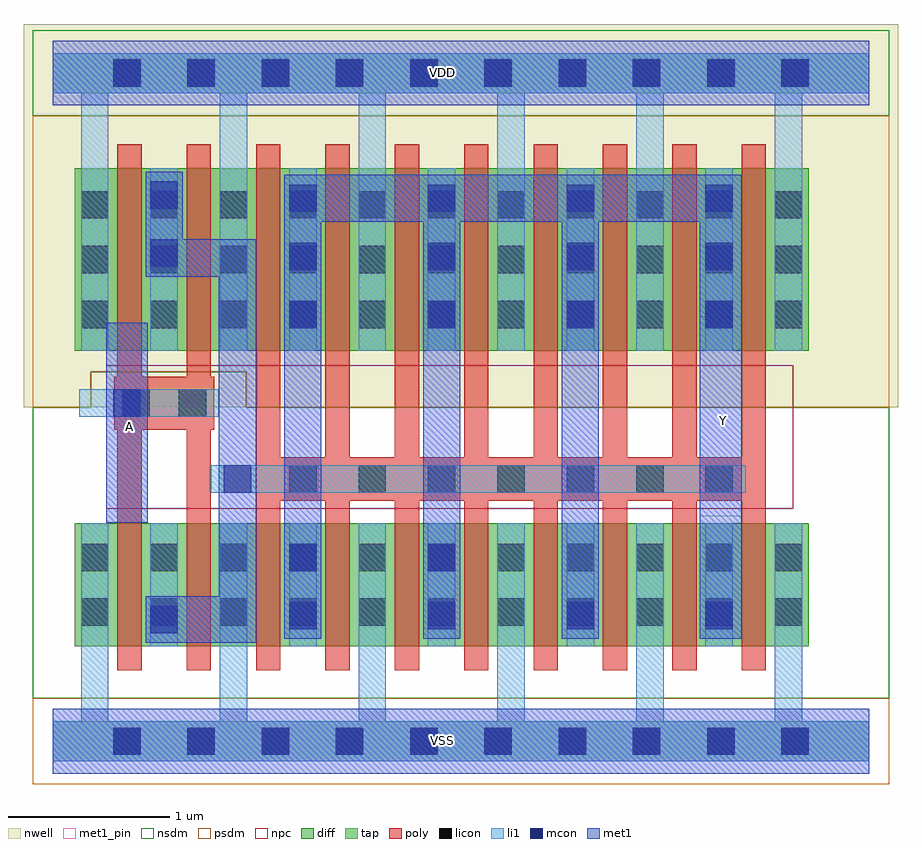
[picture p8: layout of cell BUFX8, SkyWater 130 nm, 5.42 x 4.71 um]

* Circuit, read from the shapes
.subckt BUFX8 A VDD VSS Y
XM1 n1 A VSS VSS sky130_fd_pr__nfet_01v8 w=0.76 l=0.15 m=2
XM2 Y n1 VSS VSS sky130_fd_pr__nfet_01v8 w=0.76 l=0.15 m=8
XM3 n1 A VDD VDD sky130_fd_pr__pfet_01v8 w=1.13 l=0.15 m=2
XM4 Y n1 VDD VDD sky130_fd_pr__pfet_01v8 w=1.13 l=0.15 m=8
.ends

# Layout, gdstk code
from math import pi, radians
import gdstk
lib = gdstk.Library(unit=1e-6, precision=1e-09)
def R(c, l, rs):  # rectangles x0, y0, x1, y1
    for r in rs: c.add(gdstk.rectangle(r[:2], r[2:], *l))
def A(c, l, x, y, w, h, nx, ny, dx, dy):  # array of equal rectangles
    R(c, l, [(x+i*dx, y+j*dy, x+i*dx+w, y+j*dy+h) for i in range(nx) for j in range(ny)])
def P(c, l, *ps):  # polygons
    for p in ps: c.add(gdstk.Polygon(p, *l))
nwell = (64, 20)
diff = (65, 20)
tap = (65, 44)
poly = (66, 20)
licon = (66, 44)
li1 = (67, 20)
mcon = (67, 44)
met1_pin = (68, 16)
met1 = (68, 20)
nsdm = (93, 44)
psdm = (94, 20)
npc = (95, 20)

l1m1_c__16 = lib.new_cell('L1M1_C$$16')
R(l1m1_c__16, li1, [(-0.085,-0.165,0.085,0.165)])
R(l1m1_c__16, mcon, [(-0.085,-0.085,0.085,0.085)])
R(l1m1_c__16, met1, [(-0.115,-0.145,0.115,0.145)])

pyl1con_c__13 = lib.new_cell('PYL1CON_C$$13')
R(pyl1con_c__13, poly, [(-0.135,-0.165,0.135,0.165)])
R(pyl1con_c__13, licon, [(-0.085,-0.085,0.085,0.085)])
R(pyl1con_c__13, npc, [(-0.185,-0.185,0.185,0.185)])

l1m1_c__12 = lib.new_cell('L1M1_C$$12')
R(l1m1_c__12, li1, [(-0.085,-0.345,0.085,0.345)])
R(l1m1_c__12, mcon, [(-0.085,-0.265,0.085,-0.095), (-0.085,0.095,0.085,0.265)])
R(l1m1_c__12, met1, [(-0.115,-0.325,0.115,0.325)])

l1m1_c__15 = lib.new_cell('L1M1_C$$15')
R(l1m1_c__15, li1, [(-0.165,-0.085,0.165,0.085)])
R(l1m1_c__15, mcon, [(-0.085,-0.085,0.085,0.085)])
R(l1m1_c__15, met1, [(-0.115,-0.145,0.115,0.145)])

bufx8 = lib.new_cell('BUFX8')
R(bufx8, nwell, [(-0.18,2.07,5.24,4.445)])
R(bufx8, diff, [(0.135,0.59,4.685,1.35), (0.135,2.42,4.685,3.55)])
A(bufx8, poly, 1.26, 0.44, 0.15, 3.26, 8, 1, 0.43, 0)
P(bufx8, poly, [(1,2.26),(0.98,2.26),(0.98,3.7),(0.83,3.7),(0.83,2.26),(0.55,2.26),(0.55,3.7),(0.4,3.7),(0.4,2.26),(0.38,2.26),(0.38,1.93),(0.4,1.93),(0.4,0.44),(0.55,0.44),(0.55,1.93),(0.83,1.93),(0.83,0.44),(0.98,0.44),(0.98,1.93),(1,1.93)])
A(bufx8, licon, 0.375, -0.085, 0.17, 0.17, 10, 2, 0.46, 4.14)
A(bufx8, licon, 0.175, 0.715, 0.17, 0.17, 11, 2, 0.43, 0.34)
A(bufx8, licon, 0.175, 2.56, 0.17, 0.17, 11, 3, 0.43, 0.34)
A(bufx8, li1, 0.605, 0.59, 0.17, 0.76, 5, 1, 0.86, 0)
A(bufx8, li1, 0.605, 2.42, 0.17, 1.13, 5, 1, 0.86, 0)
P(bufx8, li1, [(5.06,0.125),(4.645,0.125),(4.645,1.35),(4.475,1.35),(4.475,0.125),(3.785,0.125),(3.785,1.35),(3.615,1.35),(3.615,0.125),(2.925,0.125),(2.925,1.35),(2.755,1.35),(2.755,0.125),(2.065,0.125),(2.065,1.35),(1.895,1.35),(1.895,0.125),(1.205,0.125),(1.205,1.35),(1.035,1.35),(1.035,0.125),(0.345,0.125),(0.345,1.35),(0.175,1.35),(0.175,0.125),(0,0.125),(0,-0.125),(5.06,-0.125)],
  [(5.06,4.265),(0,4.265),(0,4.015),(0.175,4.015),(0.175,2.42),(0.345,2.42),(0.345,4.015),(1.035,4.015),(1.035,2.42),(1.205,2.42),(1.205,4.015),(1.895,4.015),(1.895,2.42),(2.065,2.42),(2.065,4.015),(2.755,4.015),(2.755,2.42),(2.925,2.42),(2.925,4.015),(3.615,4.015),(3.615,2.42),(3.785,2.42),(3.785,4.015),(4.475,4.015),(4.475,2.42),(4.645,2.42),(4.645,4.015),(5.06,4.015)])
A(bufx8, mcon, 0.375, -0.085, 0.17, 0.17, 10, 2, 0.46, 4.14)
A(bufx8, mcon, 1.465, 0.695, 0.17, 0.17, 4, 2, 0.86, 1.865)
A(bufx8, mcon, 1.465, 2.92, 0.17, 0.17, 4, 2, 0.86, 0.36)
R(bufx8, mcon, [(1.465,1.055,1.635,1.225), (2.325,1.055,2.495,1.225)])
R(bufx8, met1_pin, [(0.33,1.355,0.59,2.595), (4.01,1.395,4.27,2.635)])
P(bufx8, met1, [(1.26,3.11),(0.575,3.11),(0.575,2.88),(1.03,2.88),(1.03,0.9),(0.575,0.9),(0.575,0.61),(1.26,0.61)],
  [(4.27,3.51),(1.435,3.51),(1.435,0.635),(1.665,0.635),(1.665,3.22),(2.295,3.22),(2.295,0.635),(2.525,0.635),(2.525,3.22),(3.155,3.22),(3.155,0.635),(3.385,0.635),(3.385,3.22),(4.01,3.22),(4.01,0.635),(4.27,0.635)])
R(bufx8, nsdm, [(-0.125,3.875,5.185,4.405)])
P(bufx8, nsdm, [(5.185,2.07),(1.2,2.07),(1.2,2.29),(0.235,2.29),(0.235,2.07),(-0.125,2.07),(-0.125,0.265),(5.185,0.265)])
R(bufx8, psdm, [(-0.125,-0.265,5.185,0.265)])
P(bufx8, psdm, [(5.185,3.875),(-0.125,3.875),(-0.125,2.07),(0.235,2.07),(0.235,2.29),(1.2,2.29),(1.2,2.07),(5.185,2.07)])
R(bufx8, npc, [(0.33,1.44,4.59,2.33)])
bufx8.add(gdstk.FlexPath([(0.98,1.625),(4.295,1.625)], 0.17, ends="flush", simple_path=True, layer=67, datatype=20))  # li1
bufx8.add(gdstk.FlexPath([(0.165,2.095),(1.03,2.095)], 0.17, ends="flush", simple_path=True, layer=67, datatype=20))  # li1
bufx8.add(gdstk.FlexPath([(0,0),(5.06,0)], 0.4, ends="flush", simple_path=True, layer=68, datatype=20))  # met1
bufx8.add(gdstk.FlexPath([(0.46,1.355),(0.46,2.595)], 0.26, ends="flush", simple_path=True, layer=68, datatype=20))  # met1
bufx8.add(gdstk.FlexPath([(0,4.14),(5.06,4.14)], 0.4, ends="flush", simple_path=True, layer=68, datatype=20))  # met1
bufx8.add(gdstk.FlexPath([(0,4.14),(5.06,4.14)], 0.25, ends="flush", simple_path=True, layer=65, datatype=44))  # tap
bufx8.add(gdstk.FlexPath([(0,0),(5.06,0)], 0.25, ends="flush", simple_path=True, layer=65, datatype=44))  # tap
bufx8.add(gdstk.FlexPath([(0,4.14),(5.06,4.14)], 0.4, ends="flush", simple_path=True, layer=68, datatype=16))  # met1_pin
bufx8.add(gdstk.FlexPath([(0,0),(5.06,0)], 0.4, ends="flush", simple_path=True, layer=68, datatype=16))  # met1_pin
bufx8.add(gdstk.Reference(l1m1_c__16, (0.69,0.755)))
bufx8.add(gdstk.Reference(pyl1con_c__13, (2.84,1.625), rotation=pi/2))
bufx8.add(gdstk.Reference(pyl1con_c__13, (0.515,2.095), rotation=pi, x_reflection=True))
bufx8.add(gdstk.Reference(pyl1con_c__13, (0.865,2.095), rotation=pi, x_reflection=True))
bufx8.add(gdstk.Reference(pyl1con_c__13, (3.27,1.625), rotation=pi/2))
bufx8.add(gdstk.Reference(pyl1con_c__13, (2.41,1.625), rotation=pi/2))
bufx8.add(gdstk.Reference(pyl1con_c__13, (4.13,1.625), rotation=pi/2))
bufx8.add(gdstk.Reference(pyl1con_c__13, (3.7,1.625), rotation=pi/2))
bufx8.add(gdstk.Reference(pyl1con_c__13, (1.98,1.625), rotation=pi/2))
bufx8.add(gdstk.Reference(pyl1con_c__13, (1.55,1.625), rotation=pi/2))
bufx8.add(gdstk.Reference(l1m1_c__12, (0.69,3.205)))
bufx8.add(gdstk.Reference(l1m1_c__15, (1.145,1.625), x_reflection=True))
bufx8.add(gdstk.Reference(l1m1_c__15, (0.46,2.095), x_reflection=True))
bufx8.add(gdstk.Label('Y', (4.155,1.99), layer=68, texttype=5))
bufx8.add(gdstk.Label('VDD', (2.415,4.145), layer=68, texttype=5))
bufx8.add(gdstk.Label('VSS', (2.415,0.005), layer=68, texttype=5))
bufx8.add(gdstk.Label('A', (0.475,1.95), layer=68, texttype=5))

lib.write_gds('BUFX8.gds')
